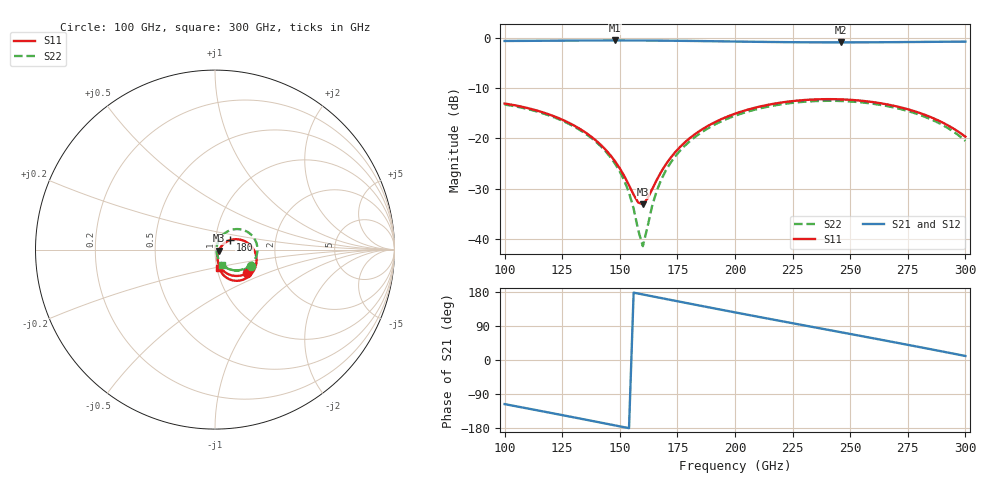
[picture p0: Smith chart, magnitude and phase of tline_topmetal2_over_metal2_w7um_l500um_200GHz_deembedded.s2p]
! Created with skrf 2.0.1 (http://scikit-rf.org).
# GHz S DB R 50.0
!freq dBS11 angS11 dBS21 angS21 dBS12 angS12 dBS22 angS22
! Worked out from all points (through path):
!   101 points, 100 GHz to 300 GHz, reference 50 ohm
!   highest |S21| = -0.50 dB at 148 GHz (marker M1); lowest = -0.9 dB at 246 GHz (marker M2)
!   group delay of S21, straight-line fit = 3.23 ps
!   lowest |S11| = -33.1 dB at 160 GHz (marker M3), VSWR 1.05, Z = 52.2 - j0.583 ohm
!   |S11| at or under -10 dB: start of sweep to end of sweep
!   |S22| runs from -41.5 to -12.5 dB; largest |S21 - S12| = 1.1e-14
!   S11 on the Smith chart (normalised r, x): 100 GHz: 1.38, -0.38; 180 GHz: 1.18, +0.12; 300 GHz: 1.03, -0.21
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100  -13.07 -35.8  -0.60 -116.4  -0.60 -116.4  -13.26 -24.3
118  -15.03 -55.0  -0.55 -137.2  -0.55 -137.2  -15.23 -42.4
134  -18.50 -70.3  -0.51 -156.1  -0.51 -156.1  -18.72 -58.0
142  -21.41 -75.4  -0.50 -165.6  -0.50 -165.6  -21.69 -65.0
148  -24.60 -75.6  -0.50 -172.7  -0.50 -172.7  -25.08 -68.7
152  -27.55 -70.8  -0.50 -177.5  -0.50 -177.5  -28.48 -68.9
154  -29.34 -64.7  -0.50 -179.9  -0.50 -179.9  -30.84 -66.9
156  -31.23 -54.2  -0.50 177.7  -0.50 177.7  -33.99 -61.3
158  -32.79 -37.0  -0.51 175.3  -0.51 175.3  -38.31 -44.6
160  -33.14 -14.7  -0.51 172.9  -0.51 172.9  -41.48 3.6
164  -30.18 18.7  -0.52 168.2  -0.52 168.2  -33.52 61.5
168  -26.64 30.8  -0.53 163.4  -0.53 163.4  -28.21 68.1
174  -22.78 34.3  -0.56 156.3  -0.56 156.3  -23.63 66.7
180  -20.10 32.0  -0.59 149.1  -0.59 149.1  -20.72 62.2
190  -17.08 24.2  -0.65 137.4  -0.65 137.4  -17.55 52.9
200  -15.09 14.6  -0.71 125.7  -0.71 125.7  -15.50 42.9
216  -13.17 -1.7  -0.80 107.3  -0.80 107.3  -13.54 26.4
234  -12.26 -20.4  -0.87 86.8  -0.87 86.8  -12.59 7.6
246  -12.23 -32.7  -0.88 73.3  -0.88 73.3  -12.56 -5.1
268  -13.42 -54.5  -0.84 48.1  -0.84 48.1  -13.76 -28.8
286  -15.97 -69.9  -0.77 27.2  -0.77 27.2  -16.40 -48.9
300  -19.67 -76.1  -0.73 10.6  -0.73 10.6  -20.50 -65.5
